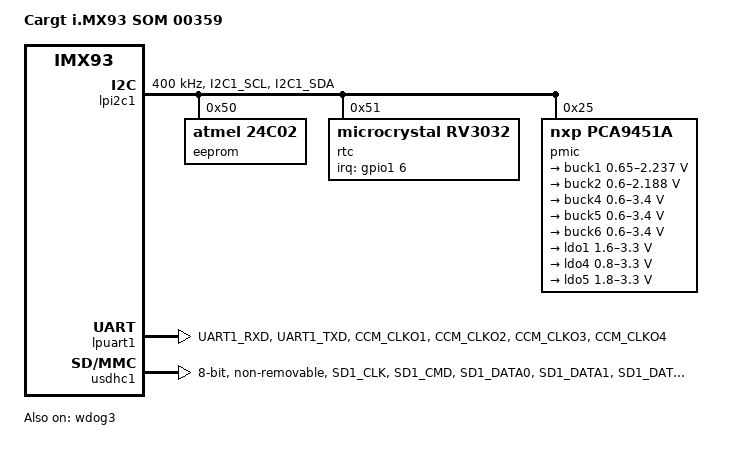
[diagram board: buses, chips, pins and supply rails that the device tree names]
// SPDX-License-Identifier: (GPL-2.0+ OR MIT)
/*
 * Copyright 2022 NXP
 */

/dts-v1/;

#include "imx93.dtsi"

/ {
	model = "Cargt i.MX93 SOM 00359";
	compatible = "cargt,imx93-00359", "fsl,imx93";

	chosen {
		bootargs = "console=ttyLP0,115200";
		stdout-path = &lpuart1;
	};

	reserved-memory {
		#address-cells = <2>;
		#size-cells = <2>;
		ranges;

		linux,cma {
			compatible = "shared-dma-pool";
			reusable;
			alloc-ranges = <0 0x80000000 0 0x40000000>;
			size = <0 0x10000000>;
			linux,cma-default;
		};
	};
};

&eqos {
	pinctrl-names = "default";
	pinctrl-0 = <&pinctrl_eqos>;
	status = "disabled";
};

&fec {
	pinctrl-names = "default";
	pinctrl-0 = <&pinctrl_fec>;
	status = "disabled";
};

&lpi2c1 {
	#address-cells = <1>;
	#size-cells = <0>;
	clock-frequency = <400000>;
	pinctrl-names = "default", "sleep";
	pinctrl-0 = <&pinctrl_lpi2c1>;
	pinctrl-1 = <&pinctrl_lpi2c1>;
	status = "okay";

	eeprom@50 {
		compatible = "atmel,24c02";
		reg = <0x50>;
		pagesize = <16>;		
		status = "okay";
	};

	rtc@51 {
		compatible = "microcrystal,rv3032";
		reg = <0x51>;
		interrupts = <6 IRQ_TYPE_LEVEL_LOW>;
		interrupt-parent = <&gpio1>;
		pinctrl-names = "default";
		pinctrl-0 = <&pinctrl_rtc>;
		status = "okay";
	};

	pmic@25 {
		compatible = "nxp,pca9451a";
		reg = <0x25>;
		//interrupt-parent = <&pcal6524>;
		//interrupts = <11 IRQ_TYPE_LEVEL_LOW>;
		status = "okay";

		regulators {
			buck1: BUCK1 {
				regulator-name = "BUCK1";
				regulator-min-microvolt = <650000>;
				regulator-max-microvolt = <2237500>;
				regulator-boot-on;
				regulator-always-on;
				regulator-ramp-delay = <3125>;
			};

			buck2: BUCK2 {
				regulator-name = "BUCK2";
				regulator-min-microvolt = <600000>;
				regulator-max-microvolt = <2187500>;
				regulator-boot-on;
				regulator-always-on;
				regulator-ramp-delay = <3125>;
			};

			buck4: BUCK4{
				regulator-name = "BUCK4";
				regulator-min-microvolt = <600000>;
				regulator-max-microvolt = <3400000>;
				regulator-boot-on;
				regulator-always-on;
			};

			buck5: BUCK5{
				regulator-name = "BUCK5";
				regulator-min-microvolt = <600000>;
				regulator-max-microvolt = <3400000>;
				regulator-boot-on;
				regulator-always-on;
			};

			buck6: BUCK6 {
				regulator-name = "BUCK6";
				regulator-min-microvolt = <600000>;
				regulator-max-microvolt = <3400000>;
				regulator-boot-on;
				regulator-always-on;
			};

			ldo1: LDO1 {
				regulator-name = "LDO1";
				regulator-min-microvolt = <1600000>;
				regulator-max-microvolt = <3300000>;
				regulator-boot-on;
				regulator-always-on;
			};

			ldo4: LDO4 {
				regulator-name = "LDO4";
				regulator-min-microvolt = <800000>;
				regulator-max-microvolt = <3300000>;
				regulator-boot-on;
				regulator-always-on;
			};

			ldo5: LDO5 {
				regulator-name = "LDO5";
				regulator-min-microvolt = <1800000>;
				regulator-max-microvolt = <3300000>;
				regulator-boot-on;
				regulator-always-on;
			};
		};
	};
};



&lpuart1 { /* console */
	pinctrl-names = "default";
	pinctrl-0 = <&pinctrl_uart1>;
	status = "okay";
};

&usdhc1 {
	pinctrl-names = "default", "state_100mhz", "state_200mhz";
	pinctrl-0 = <&pinctrl_usdhc1>;
	pinctrl-1 = <&pinctrl_usdhc1>;
	pinctrl-2 = <&pinctrl_usdhc1>;
	bus-width = <8>;
	non-removable;
	status = "okay";
};

&usdhc2 {
	status = "disabled";
};

&usdhc3 {
	status = "disabled";
};



&iomuxc {

	pinctrl_lpi2c1: lpi2c1grp {
		fsl,pins = <
			MX93_PAD_I2C1_SCL__LPI2C1_SCL			0x40000b9e
			MX93_PAD_I2C1_SDA__LPI2C1_SDA			0x40000b9e
		>;
	};

	pinctrl_eqos: eqosgrp {
		fsl,pins = <
			MX93_PAD_ENET1_MDC__ENET_QOS_MDC			0x57e
			MX93_PAD_ENET1_MDIO__ENET_QOS_MDIO			0x57e
			MX93_PAD_ENET1_RD0__ENET_QOS_RGMII_RD0			0x57e
			MX93_PAD_ENET1_RD1__ENET_QOS_RGMII_RD1			0x57e
			MX93_PAD_ENET1_RD2__ENET_QOS_RGMII_RD2			0x57e
			MX93_PAD_ENET1_RD3__ENET_QOS_RGMII_RD3			0x57e
			MX93_PAD_ENET1_RXC__CCM_ENET_QOS_CLOCK_GENERATE_RX_CLK	0x5fe
			MX93_PAD_ENET1_RX_CTL__ENET_QOS_RGMII_RX_CTL		0x57e
			MX93_PAD_ENET1_TD0__ENET_QOS_RGMII_TD0			0x57e
			MX93_PAD_ENET1_TD1__ENET_QOS_RGMII_TD1			0x57e
			MX93_PAD_ENET1_TD2__ENET_QOS_RGMII_TD2			0x57e
			MX93_PAD_ENET1_TD3__ENET_QOS_RGMII_TD3			0x57e
			MX93_PAD_ENET1_TXC__CCM_ENET_QOS_CLOCK_GENERATE_TX_CLK	0x5fe
			MX93_PAD_ENET1_TX_CTL__ENET_QOS_RGMII_TX_CTL		0x57e
		>;
	};

	pinctrl_flexspi: flexspigrp {
		fsl,pins = <
			MX93_PAD_SD3_CMD__FLEXSPI1_A_SS0_B      0x42
			MX93_PAD_SD3_CLK__FLEXSPI1_A_SCLK       0x42
			MX93_PAD_SD3_DATA0__FLEXSPI1_A_DATA00   0x42
			MX93_PAD_SD3_DATA1__FLEXSPI1_A_DATA01   0x42
			MX93_PAD_SD3_DATA2__FLEXSPI1_A_DATA02   0x42
			MX93_PAD_SD3_DATA3__FLEXSPI1_A_DATA03   0x42
		>;
	};

	pinctrl_fec: fecgrp {
		fsl,pins = <
			MX93_PAD_ENET2_MDC__ENET1_MDC			0x57e
			MX93_PAD_ENET2_MDIO__ENET1_MDIO			0x57e
			MX93_PAD_ENET2_RD0__ENET1_RGMII_RD0		0x57e
			MX93_PAD_ENET2_RD1__ENET1_RGMII_RD1		0x57e
			MX93_PAD_ENET2_RD2__ENET1_RGMII_RD2		0x57e
			MX93_PAD_ENET2_RD3__ENET1_RGMII_RD3		0x57e
			MX93_PAD_ENET2_RXC__ENET1_RGMII_RXC		0x5fe
			MX93_PAD_ENET2_RX_CTL__ENET1_RGMII_RX_CTL	0x57e
			MX93_PAD_ENET2_TD0__ENET1_RGMII_TD0		0x57e
			MX93_PAD_ENET2_TD1__ENET1_RGMII_TD1		0x57e
			MX93_PAD_ENET2_TD2__ENET1_RGMII_TD2		0x57e
			MX93_PAD_ENET2_TD3__ENET1_RGMII_TD3		0x57e
			MX93_PAD_ENET2_TXC__ENET1_RGMII_TXC		0x5fe
			MX93_PAD_ENET2_TX_CTL__ENET1_RGMII_TX_CTL	0x57e
		>;
	};

	pinctrl_uart1: uart1grp {
		fsl,pins = <
			MX93_PAD_UART1_RXD__LPUART1_RX			0x31e
			MX93_PAD_UART1_TXD__LPUART1_TX			0x31e

			/* Piggyback the HW ID pins inside of the UART that
			 * we use for the shell interface. We know this gets
			 * loaded and these pads will not be initialized if 
			 * we just add them to the iomux pinctl since the SPL
			 * strips some of the DTS definitions. 
			 */

			MX93_PAD_CCM_CLKO1__GPIO3_IO26 	0x31e
			MX93_PAD_CCM_CLKO2__GPIO3_IO27 	0x31e
			MX93_PAD_CCM_CLKO3__GPIO4_IO28 	0x31e
			MX93_PAD_CCM_CLKO4__GPIO4_IO29 	0x31e			
		>;
	};

	pinctrl_usdhc1: usdhc1grp {
		fsl,pins = <
			MX93_PAD_SD1_CLK__USDHC1_CLK		0x15fe
			MX93_PAD_SD1_CMD__USDHC1_CMD		0x13fe
			MX93_PAD_SD1_DATA0__USDHC1_DATA0	0x13fe
			MX93_PAD_SD1_DATA1__USDHC1_DATA1	0x13fe
			MX93_PAD_SD1_DATA2__USDHC1_DATA2	0x13fe
			MX93_PAD_SD1_DATA3__USDHC1_DATA3	0x13fe
			MX93_PAD_SD1_DATA4__USDHC1_DATA4	0x13fe
			MX93_PAD_SD1_DATA5__USDHC1_DATA5	0x13fe
			MX93_PAD_SD1_DATA6__USDHC1_DATA6	0x13fe
			MX93_PAD_SD1_DATA7__USDHC1_DATA7	0x13fe
			MX93_PAD_SD1_STROBE__USDHC1_STROBE	0x15fe
		>;
	};

	pinctrl_reg_usdhc2_vmmc: regusdhc2vmmcgrp {
		fsl,pins = <
			MX93_PAD_SD2_RESET_B__GPIO3_IO07	0x31e
		>;
	};

	pinctrl_rtc: rtcgrp {
		fsl,pins = <
			MX93_PAD_UART2_RXD__GPIO1_IO06		0x31e
		>;
	};
};

&wdog3 {
	status = "okay";
};
